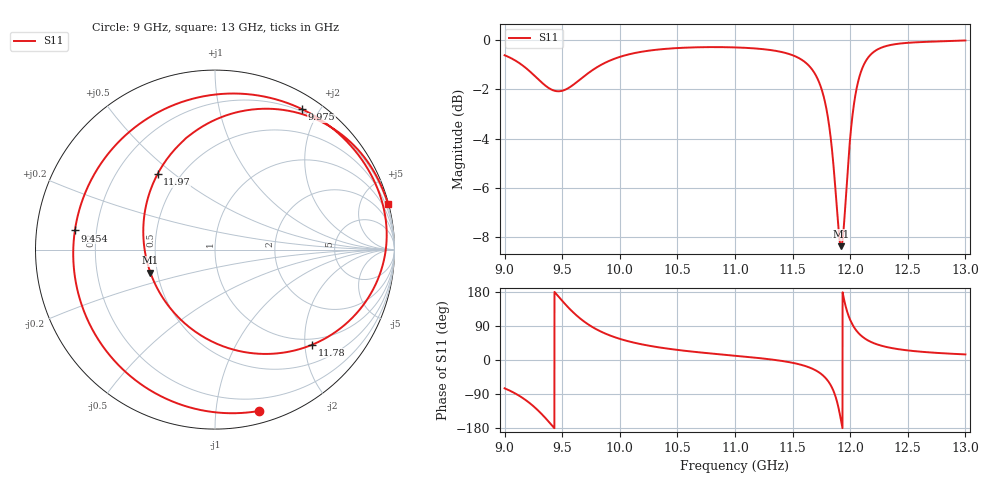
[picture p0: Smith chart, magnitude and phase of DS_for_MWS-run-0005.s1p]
! TOUCHSTONE file generated by CST DESIGN STUDIO
! Date and time: Tue Feb  4 16:15:23 2025
! Project name: C:\Work\MatlabApps\UnitCellOptimizationMatlab\CST\unitcell.cst
! Tree item: Tasks\Sweep1\SPara1\S-Parameters
! Header version: 2024
! Port assignment regex: !\s*Touchstone port\s*([0-9]+)\s*=\s*(CST MWS port|CST DES external port|CST DES block port)\s*(.+)\s* \(\"(.*)\"\)(\s*mode\s*([0-9]+))?.*
! Touchstone port assignment:
! Touchstone port 1 = CST DES external port 1 ("")
# GHz S MA R 50
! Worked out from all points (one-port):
!   4001 points, 9 GHz to 13 GHz, reference 50 ohm
!   lowest |S11| = -8.4 dB at 11.92 GHz (marker M1), VSWR 2.24, Z = 22.9 - j6.86 ohm
!   |S11| at or under -10 dB: nowhere
!   S11 on the Smith chart (normalised r, x): 9 GHz: 0.10, -1.30; 9.454 GHz: 0.12, +0.07; 9.975 GHz: 0.17, +1.78; 11.78 GHz: 0.87, -2.16; 11.97 GHz: 0.38, +0.44; 13 GHz: 0.05, +7.73
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9  0.9318 -74.8
9.134  0.8963 -95.7
9.238  0.8562 -118.8
9.359  0.807 -154.7
9.454  0.7878 172.2
9.5  0.7894 156.1
9.596  0.8117 125.6
9.693  0.8457 100.8
9.831  0.8893 75.7
9.975  0.9206 58.2
10  0.9247 55.8
10.215  0.9493 39.9
10.5  0.9637 26.6
11  0.9666 11.3
11.5  0.9319 -7.4
11.67  0.8715 -22.8
11.776  0.7583 -44.3
11.858  0.5464 -83.9
11.889  0.4399 -113.9
11.921  0.3821 -160.4
11.947  0.4255 159.2
11.974  0.5288 127.3
12  0.6352 105.6
12.064  0.815 73.8
12.176  0.9337 48.3
12.303  0.9714 35.2
12.5  0.9875 25.3
13  0.9985 14.7
